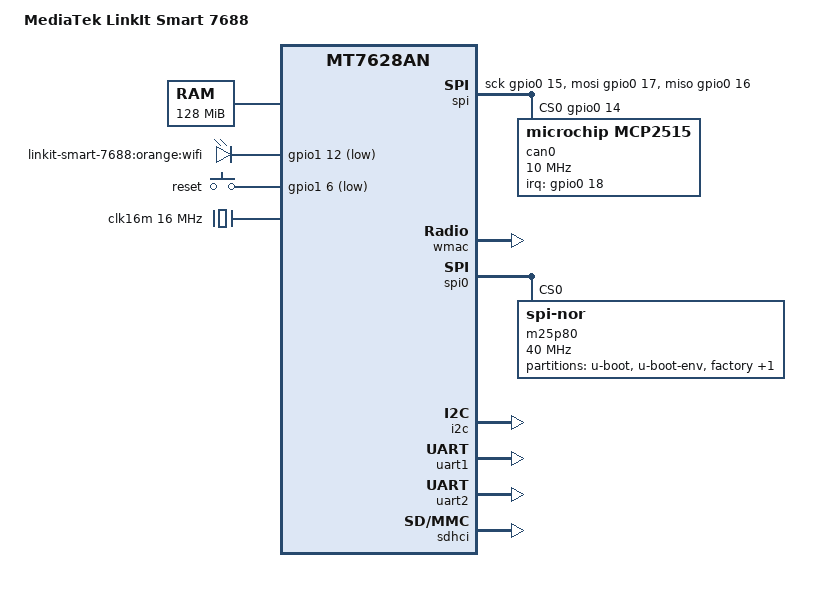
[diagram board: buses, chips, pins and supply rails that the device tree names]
/dts-v1/;

#include "mt7628an.dtsi"

#include <dt-bindings/gpio/gpio.h>
#include <dt-bindings/input/input.h>

/ {
	compatible = "mediatek,linkit-smart-7688", "mediatek,mt7628an-soc";
	model = "MediaTek LinkIt Smart 7688";

	chosen {
		bootargs = "console=ttyS2,57600";
	};

	aliases {
		serial0 = &uart2;
	};

	memory@0 {
		device_type = "memory";
		reg = <0x0 0x8000000>;
	};

	bootstrap {
		compatible = "mediatek,linkit";

		status = "okay";
	};

	gpio-leds {
		compatible = "gpio-leds";

		wifi {
			label = "linkit-smart-7688:orange:wifi";
			gpios = <&gpio1 12 GPIO_ACTIVE_LOW>;
		};
	};


	gpio-keys-polled {
		compatible = "gpio-keys-polled";
		#address-cells = <1>;
		#size-cells = <0>;
		poll-interval = <20>;

		wps {
			label = "reset";
			gpios = <&gpio1 6 GPIO_ACTIVE_LOW>;
			linux,code = <KEY_WPS_BUTTON>;
		};
	};

   clocks {
       /* fixed crystal dedicated to mpc251x */
       clk16m: clk@1 {
           compatible = "fixed-clock";
           reg=<1>;
           #clock-cells = <0>;
           clock-frequency = <16000000>;
           clock-output-names = "clk16m";
       };
   };

   spi {
		compatible = "spi-gpio";
		#address-cells = <0x1>;
		ranges;

		gpio-sck = <&gpio0 15 0>;
		gpio-miso = <&gpio0 16 0>;
		gpio-mosi = <&gpio0 17 0>;
		cs-gpios = <&gpio0 14 0>;
		num-chipselects = <1>;
		status = "ok";

        can0: mcp2515@0 {
                reg = <0>;
                compatible = "microchip,mcp2515";

                spi-max-frequency = <10000000>;
                interrupt-parent = <&gpio0>;
                interrupts = <18 0x2>;
                clocks = <10000000>;
                oscillator = <10000000>;
                };
	};
};

&pinctrl {
	state_default: pinctrl0 {
		gpio {
			ralink,group = "gpio";
			ralink,function = "gpio";
		};

		refclk {
			ralink,group = "refclk";
			ralink,function = "gpio";
		};

		i2s {
			ralink,group = "i2s";
			ralink,function = "gpio";
		};

		wled_an {
			ralink,group = "wled_an";
			ralink,function = "gpio";
		};

		wdt {
			ralink,group = "wdt";
			ralink,function = "gpio";
		};
	};
};

&wmac {
	status = "okay";
};

&spi0 {
	status = "okay";

	pinctrl-names = "default";
	pinctrl-0 = <&spi_pins>;

	m25p80@0 {
		#address-cells = <1>;
		#size-cells = <1>;
		compatible = "jedec,spi-nor";
		reg = <0>;
		spi-max-frequency = <40000000>;
		m25p,chunked-io = <31>;

		partition@0 {
			label = "u-boot";
			reg = <0x0 0x30000>;
			read-only;
		};

		partition@30000 {
			label = "u-boot-env";
			reg = <0x30000 0x10000>;
		};

		factory: partition@40000 {
			label = "factory";
			reg = <0x40000 0x10000>;
			read-only;
		};

		partition@50000 {
			label = "firmware";
			reg = <0x50000 0x1fb0000>;
		};
	};
};

&i2c {
	status = "okay";
};

&uart1 {
	status = "okay";
};

&uart2 {
	status = "okay";
};

&ethernet {
	mtd-mac-address = <&factory 0x28>;
};

&sdhci {
	status = "okay";
	mediatek,cd-high;
};

&wmac {
	status = "okay";
};
